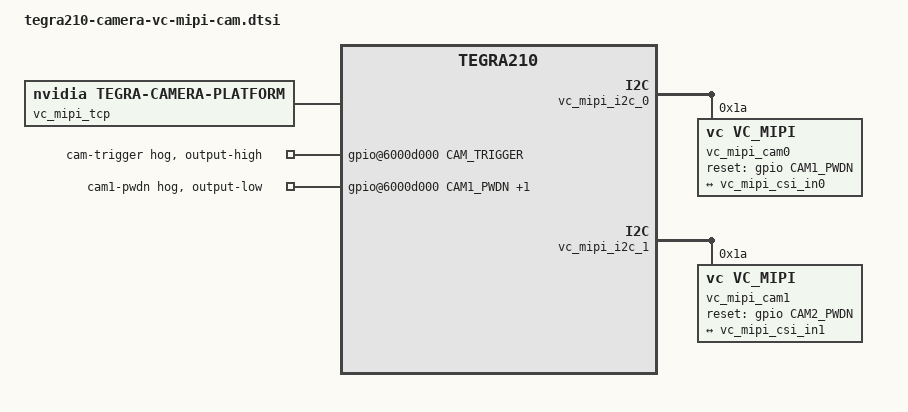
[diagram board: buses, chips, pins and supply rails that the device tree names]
/*
 * Copyright (c) 2018-2019, NVIDIA CORPORATION.  All rights reserved.
 *
 * This program is free software; you can redistribute it and/or modify
 * it under the terms of the GNU General Public License as published by
 * the Free Software Foundation; either version 2 of the License, or
 * (at your option) any later version.
 *
 * This program is distributed in the hope that it will be useful, but WITHOUT
 * ANY WARRANTY; without even the implied warranty of MERCHANTABILITY or
 * FITNESS FOR A PARTICULAR PURPOSE.  See the GNU General Public License for
 * more details.
 *
 * You should have received a copy of the GNU General Public License
 * along with this program.  If not, see <http://www.gnu.org/licenses/>.
 */

#include <dt-bindings/media/camera.h>
#include <dt-bindings/platform/t210/t210.h>

#define VC_MIPI_CAM_AB  1
#define VC_MIPI_CAM_CD  1
#define VC_MIPI_CAM_E   0
#define VC_MIPI_CAM_F   0
#define VC_MIPI_CAMERAS 2

#define VC_MIPI_LANES   4
#if VC_MIPI_LANES == 1
    #define BUS_WIDTH 1
    #define NUM_LANES "1" 
    #define NUM_CSI_LANES 2
#endif
#if VC_MIPI_LANES == 2
    #define BUS_WIDTH 2
    #define NUM_LANES "2" 
    #define NUM_CSI_LANES 4
#endif
#if VC_MIPI_LANES == 4
    #define BUS_WIDTH 4
    #define NUM_LANES "4" 
    #define NUM_CSI_LANES 8
#endif
 
/ {
    host1x {
        vc_mipi_vi_base: vi {
            num-channels = <VC_MIPI_CAMERAS>;
            #address-cells = <1>;
            #size-cells = <0>;
            ports {
                #address-cells = <1>;
                #size-cells = <0>;
#if VC_MIPI_CAM_AB == 1
                vc_mipi_vi_port0: port@0 {
                    reg = <0>;
                    vc_mipi_vi_in0: endpoint {
                        port-index = <0>;
                        bus-width = <BUS_WIDTH>;
                        remote-endpoint = <&vc_mipi_csi_out0>;
                    };
                };
#endif
#if VC_MIPI_CAM_CD == 1
                vc_mipi_vi_port1: port@1 {
                    reg = <1>;
                    vc_mipi_vi_in1: endpoint {
                        port-index = <2>;
                        bus-width = <BUS_WIDTH>;
                        remote-endpoint = <&vc_mipi_csi_out1>;
                    };
                };
#endif
#if VC_MIPI_CAM_E == 1
                vc_mipi_vi_port2: port@2 {
                    reg = <2>;
                    vc_mipi_vi_in2: endpoint {
                        port-index = <4>;
                        bus-width = <BUS_WIDTH>;
                        remote-endpoint = <&vc_mipi_csi_out2>;
                    };
                };
#endif
#if VC_MIPI_CAM_F == 1
                vc_mipi_vi_port3: port@3 {
                    reg = <3>;
                    vc_mipi_vi_in3: endpoint {
                        port-index = <6>;
                        bus-width = <BUS_WIDTH>;
                        remote-endpoint = <&vc_mipi_csi_out3>;
                    };
                };
#endif
            };
        };
 
        vc_mipi_csi_base: nvcsi {
            num-channels = <VC_MIPI_CAMERAS>;
            #address-cells = <1>;
            #size-cells = <0>;
#if VC_MIPI_CAM_AB == 1
            vc_mipi_csi_chan0: channel@0 {
                reg = <0>;
                ports {
                    #address-cells = <1>;
                    #size-cells = <0>;
                    vc_mipi_csi_chan0_port0: port@0 {
                        reg = <0>;
                        vc_mipi_csi_in0: endpoint@0 {
                            port-index = <0>;
                            bus-width = <BUS_WIDTH>;
                            remote-endpoint = <&vc_mipi_out0>;
                        };
                    };
                    vc_mipi_csi_chan0_port1: port@1 {
                        reg = <1>;
                        vc_mipi_csi_out0: endpoint@1 {
                            remote-endpoint = <&vc_mipi_vi_in0>;
                        };
                    };
                };
            };
#endif
#if VC_MIPI_CAM_CD == 1
            vc_mipi_csi_chan1: channel@1 {
                reg = <1>;
                ports {
                    #address-cells = <1>;
                    #size-cells = <0>;
                    vc_mipi_csi_chan1_port0: port@2 {
                        reg = <0>;
                        vc_mipi_csi_in1: endpoint@2 {
                            port-index = <2>;
                            bus-width = <BUS_WIDTH>;
                            remote-endpoint = <&vc_mipi_out1>;
                        };
                    };
                    vc_mipi_csi_chan1_port1: port@3 {
                        reg = <1>;
                        vc_mipi_csi_out1: endpoint@3 {
                            remote-endpoint = <&vc_mipi_vi_in1>;
                        };
                    };
                };
            };
#endif
#if VC_MIPI_CAM_E == 1
            vc_mipi_csi_chan2: channel@2 {
                reg = <2>;
                ports {
                    #address-cells = <1>;
                    #size-cells = <0>;
                    vc_mipi_csi_chan2_port0: port@4 {
                        reg = <0>;
                        vc_mipi_csi_in2: endpoint@4 {
                            port-index = <4>;
                            bus-width = <BUS_WIDTH>;
                            remote-endpoint = <&vc_mipi_out2>;
                        };
                    };
                    vc_mipi_csi_chan2_port1: port@5 {
                        reg = <1>;
                        vc_mipi_csi_out2: endpoint@5 {
                            remote-endpoint = <&vc_mipi_vi_in2>;
                        };
                    };
                };
            };
 #endif
 #if VC_MIPI_CAM_F == 1
            vc_mipi_csi_chan3: channel@3 {
                reg = <3>;
                ports {
                    #address-cells = <1>;
                    #size-cells = <0>;
                    vc_mipi_csi_chan3_port0: port@6 {
                        reg = <0>;
                        vc_mipi_csi_in3: endpoint@6 {
                            port-index = <6>;
                            bus-width = <BUS_WIDTH>;
                            remote-endpoint = <&vc_mipi_out3>;
                        };
                    };
                    vc_mipi_csi_chan3_port1: port@7 {
                        reg = <1>;
                        vc_mipi_csi_out3: endpoint@7 {
                            remote-endpoint = <&vc_mipi_vi_in3>;
                        };
                    };
                };
            };
#endif
        };

#if VC_MIPI_CAM_AB == 1
        vc_mipi_i2c_0: i2c@546c0000 {
            vc_mipi_cam0: vc_mipi@1a {           
                compatible              = "vc,vc_mipi";                   
                reg                     = <0x1a>;
                devnode                 = "video0";
                use_sensor_mode_id      = "false";
                num_lanes               = NUM_LANES;
                trigger-mode            = "0";
                flash-mode              = "0";
 
                 // This node is needed by the Tegra framework. 
                // All properties are set by the driver on runtime.
                mode0 { 
                    num_lanes                = NUM_LANES;
                    tegra_sinterface         = "serial_a";
                    phy_mode                 = "DPHY";

                    // A Boolean; indicates whether the sensor is programmed to use a 
                    // discontinuous clock on MIPI lanes.
                    discontinuous_clk        = "no";
                    // sensor_common.c -> signal->mclk_freq = value; (read_property_u32)
                    // s_data->def_clk_freq = signal_props->mclk_freq * 1000;
                    // camera_common.c -> camera_common_mclk_enable
                    //                 -> clk_set_rate -> clk_prepare_enable
                    mclk_khz                 = "24000"; 
                    // Sensor pixel clock for calculating exposure, frame rate, etc.
                    pix_clk_hz               = "800000000";
                    // THS settle time of the MIPI lane, in nanoseconds. Calculate the range 
                    // of acceptable values with the appropriate formula.
                    cil_settletime           = "0";

                    // (not implemented) A Boolean; specifies whether to enable DPCM compression for this mode.
                    // dpcm_enable              = "false";
                    // (not implemented) MCLK multiplier for timing the capture sequence of the
                    // mclk_multiplier          = "9.33";

                    inherent_gain            = "1";
                    min_hdr_ratio            = "1";
                    max_hdr_ratio            = "1";
                    readout_orientation      = "0";

                    active_w                 = "0";
                    active_h                 = "0";
                    line_length              = "0";
                    pixel_t                  = "bayer_rggb10";

                    gain_factor              = "1";
                    min_gain_val             = "0"; 
                    max_gain_val             = "1"; 
                    step_gain_val            = "1"; 
                    default_gain             = "0"; 

                    exposure_factor          = "1"; 
                    min_exp_time             = "0";
                    max_exp_time             = "1";
                    step_exp_time            = "1";
                    default_exp_time         = "0";

                    framerate_factor         = "1";
                    min_framerate            = "0";
                    max_framerate            = "1";
                    step_framerate           = "1";
                    default_framerate        = "0";

                    embedded_metadata_height = "0";    
                };

                ports {
                    #address-cells = <1>;
                    #size-cells = <0>;

                    port@0 {
                        reg = <0>;
                        vc_mipi_out0: endpoint {
                            port-index = <0>;
                            bus-width = <BUS_WIDTH>;
                            remote-endpoint = <&vc_mipi_csi_in0>;
                        };
                    };
                };
            };
        };
#endif
#if VC_MIPI_CAM_CD == 1
        vc_mipi_i2c_1: i2c@7000c000 {
            vc_mipi_cam1: vc_mipi@1a {
                compatible              = "vc,vc_mipi";              
                reg                     = <0x1a>;
                devnode                 = "video1";
                use_sensor_mode_id      = "false";
                num_lanes               = NUM_LANES;
                trigger-mode            = "0";
                flash-mode              = "0";
                
                // This node is needed by the Tegra framework. 
                // All properties are set by the driver on runtime.
                mode0 { 
                    num_lanes                = NUM_LANES;
                    tegra_sinterface         = "serial_c";
                    phy_mode                 = "DPHY";

                    discontinuous_clk        = "no";
                    mclk_khz                 = "24000";
                    pix_clk_hz               = "800000000";
                    cil_settletime           = "0";

                    // mclk_multiplier          = "9.33";
                    // dpcm_enable              = "false";

                    inherent_gain            = "1";
                    min_hdr_ratio            = "1";
                    max_hdr_ratio            = "1";
                    readout_orientation      = "0";

                    active_w                 = "0";
                    active_h                 = "0";
                    line_length              = "0";
                    pixel_t                  = "bayer_rggb10";

                    gain_factor              = "1";
                    min_gain_val             = "0"; 
                    max_gain_val             = "1"; 
                    step_gain_val            = "1"; 
                    default_gain             = "0"; 

                    exposure_factor          = "1"; 
                    min_exp_time             = "0";
                    max_exp_time             = "1";
                    step_exp_time            = "1";
                    default_exp_time         = "0";

                    framerate_factor         = "1";
                    min_framerate            = "0";
                    max_framerate            = "1";
                    step_framerate           = "1";
                    default_framerate        = "0";

                    embedded_metadata_height = "0";    
                };

                ports {
                    #address-cells = <1>;
                    #size-cells = <0>;

                    port@0 {
                        reg = <0>;
                        vc_mipi_out1: endpoint {
                            port-index = <2>;
                            bus-width = <BUS_WIDTH>;
                            remote-endpoint = <&vc_mipi_csi_in1>;
                        };
                    };
                };
            };
        };
#endif
    };
      
#if VC_MIPI_CAM_E == 1
    vc_mipi_i2c_2: i2c@7000c400 {
        vc_mipi_cam2: vc_mipi@1a {
            compatible              = "vc,vc_mipi";              
            reg                     = <0x1a>;
            devnode                 = "video2";
            use_sensor_mode_id      = "false";
            num_lanes               = NUM_LANES;
            trigger-mode            = "0";
            flash-mode              = "0";

            // This node is needed by the Tegra framework. 
            // All properties are set by the driver on runtime.
            mode0 { 
                num_lanes                = NUM_LANES;
                tegra_sinterface         = "serial_e";
                phy_mode                 = "DPHY";

                discontinuous_clk        = "no";
                mclk_khz                 = "24000";
                pix_clk_hz               = "800000000";
                cil_settletime           = "0";

                // mclk_multiplier          = "9.33";
                // dpcm_enable              = "false";

                inherent_gain            = "1";
                min_hdr_ratio            = "1";
                max_hdr_ratio            = "1";
                readout_orientation      = "0";

                active_w                 = "0";
                active_h                 = "0";
                line_length              = "0";
                pixel_t                  = "bayer_rggb10";

                gain_factor              = "1";
                min_gain_val             = "0"; 
                max_gain_val             = "1"; 
                step_gain_val            = "1"; 
                default_gain             = "0"; 

                exposure_factor          = "1"; 
                min_exp_time             = "0";
                max_exp_time             = "1";
                step_exp_time            = "1";
                default_exp_time         = "0";

                framerate_factor         = "1";
                min_framerate            = "0";
                max_framerate            = "1";
                step_framerate           = "1";
                default_framerate        = "0";

                embedded_metadata_height = "0";    
            };

            ports {
                #address-cells = <1>;
                #size-cells = <0>;

                port@0 {
                    reg = <0>;
                    vc_mipi_out2: endpoint {
                        port-index = <4>;
                        bus-width = <BUS_WIDTH>;
                        remote-endpoint = <&vc_mipi_csi_in2>;
                    };
                };
            };
        };
    };
#endif
#if VC_MIPI_CAM_F == 1
    vc_mipi_i2c_3: i2c@7000c500 {
        vc_mipi_cam3: vc_mipi@1a {
            compatible              = "vc,vc_mipi";              
            reg                     = <0x1a>;
            devnode                 = "video3";
            use_sensor_mode_id      = "false";
            num_lanes               = NUM_LANES;
            trigger-mode            = "0";
            flash-mode              = "0";

            // This node is needed by the Tegra framework. 
            // All properties are set by the driver on runtime.
            mode0 { 
                num_lanes                = NUM_LANES;
                tegra_sinterface         = "serial_f";
                phy_mode                 = "DPHY";

                discontinuous_clk        = "no";
                mclk_khz                 = "24000";
                pix_clk_hz               = "800000000";
                cil_settletime           = "0";

                // mclk_multiplier          = "9.33";
                // dpcm_enable              = "false";

                inherent_gain            = "1";
                min_hdr_ratio            = "1";
                max_hdr_ratio            = "1";
                readout_orientation      = "0";

                active_w                 = "0";
                active_h                 = "0";
                line_length              = "0";
                pixel_t                  = "bayer_rggb10";

                gain_factor              = "1";
                min_gain_val             = "0"; 
                max_gain_val             = "1"; 
                step_gain_val            = "1"; 
                default_gain             = "0"; 

                exposure_factor          = "1"; 
                min_exp_time             = "0";
                max_exp_time             = "1";
                step_exp_time            = "1";
                default_exp_time         = "0";

                framerate_factor         = "1";
                min_framerate            = "0";
                max_framerate            = "1";
                step_framerate           = "1";
                default_framerate        = "0";

                embedded_metadata_height = "0";    
            };

            ports {
                #address-cells = <1>;
                #size-cells = <0>;

                port@0 {
                    reg = <0>;
                    vc_mipi_out3: endpoint {
                        port-index = <6>;
                        bus-width = <BUS_WIDTH>;
                        remote-endpoint = <&vc_mipi_csi_in3>;
                    };
                };
            };
        };
    };
#endif

    lens_vc_mipi@RBPCV2 {
        min_focus_distance  = "0.0";
        hyper_focal         = "0.0";
        focal_length        = "1.0";
        f_number            = "2.0";
        aperture            = "0.0";
    };
};

/ {
    vc_mipi_tcp: tegra-camera-platform {
        compatible = "nvidia, tegra-camera-platform";

        // vi_iso_bw = ((num_csi_lanes * max_lane_speed) / bits_per_pixel)
		//             * vi_bpp * (100 + vi_margin_pct) / 100;
        num_csi_lanes = <NUM_CSI_LANES>;
        max_lane_speed = <1500000>;
        min_bits_per_pixel = <10>;
        vi_peak_byte_per_pixel = <2>;
        vi_bw_margin_pct = <25>;
        // isp_iso_bw = max_pixel_rate * isp_bpp * (100 + isp_margin_pct) / 100;
        max_pixel_rate = <160000>;
        isp_peak_byte_per_pixel = <5>;
        isp_bw_margin_pct = <25>;

        /**
         * The general guideline for naming badge_info contains 3 parts, and is as follows,
         * The first part is the camera_board_id for the module; if the module is in a FFD
         * platform, then use the platform name for this part.
         * The second part contains the position of the module, ex. "rear" or "front".
         * The third part contains the last 6 characters of a part number which is found
         * in the module's specsheet from the vendor.
         */
        modules {
#if VC_MIPI_CAM_AB == 1
            vc_mipi_cam_module0: module0 {
                badge = "porg_topleft_RBPCV2";
                position = "topleft";
                orientation = "1";
                vc_mipi_cam_module0_drivernode0: drivernode0 {
                    pcl_id = "v4l2_sensor";
                    devname = "vc-mipi 6-001a";
                    proc-device-tree = "/proc/device-tree/host1x/i2c@546c0000/vc_mipi@1a";
                };
                vc_mipi_cam_module0_drivernode1: drivernode1 {
                    pcl_id = "v4l2_lens";
                    proc-device-tree = "/proc/device-tree/lens_vc_mipi@RBPCV2/";
                };
            };
#endif
#if VC_MIPI_CAM_CD == 1
            vc_mipi_cam_module1: module1 {
                badge = "porg_topright_RBPCV2";
                position = "topright";
                orientation = "1";
                vc_mipi_cam_module1_drivernode0: drivernode0 {
                    pcl_id = "v4l2_sensor";
                    devname = "vc-mipi 0-001a";
                    proc-device-tree = "/proc/device-tree/host1x/i2c@7000c000/vc_mipi@1a";
                };
                vc_mipi_cam_module1_drivernode1: drivernode1 {
                    pcl_id = "v4l2_lens";
                    proc-device-tree = "/proc/device-tree/lens_vc_mipi@RBPCV2/";
                };
            };
#endif
#if VC_MIPI_CAM_E == 1
            vc_mipi_cam_module2: module2 {
                badge = "porg_bottomleft_RBPCV2";
                position = "bottomleft";
                orientation = "1";
                vc_mipi_cam_module2_drivernode0: drivernode0 {
                    status = "okay";
                    pcl_id = "v4l2_sensor";
                    devname = "vc_mipi 1-001a";
                    proc-device-tree = "/proc/device-tree/i2c@7000c400/vc_mipi@1a";
                };
                vc_mipi_cam_module2_drivernode1: drivernode1 {
                    status = "okay";
                    pcl_id = "v4l2_lens";
                    proc-device-tree = "/proc/device-tree/lens_vc_mipi@RBPCV2/";
                };
            };
#endif
#if VC_MIPI_CAM_F == 1
            vc_mipi_cam_module3: module3 {
                badge = "porg_bottomright_RBPCV2";
                position = "bottomright";
                orientation = "1";
                vc_mipi_cam_module3_drivernode0: drivernode0 {
                    status = "okay";
                    pcl_id = "v4l2_sensor";
                    devname = "vc_mipi 2-001a";
                    proc-device-tree = "/proc/device-tree/i2c@7000c500/vc_mipi@1a";
                };
                vc_mipi_cam_module3_drivernode1: drivernode1 {
                    status = "okay";
                    pcl_id = "v4l2_lens";
                    proc-device-tree = "/proc/device-tree/lens_vc_mipi@RBPCV2/";
                };
            };
#endif
        };
    };
};

#define CAM1_PWDN       TEGRA_GPIO(S, 7)
#define CAM2_PWDN       TEGRA_GPIO(T, 0)
#define CAM3_PWDN		TEGRA_GPIO(S, 5)
#define CAM4_PWDN		TEGRA_GPIO(T, 1)
#define CAM_TRIGGER		TEGRA_GPIO(V, 0)

/ {
    host1x {
#if VC_MIPI_CAM_AB == 1
        i2c@546c0000 {
            status = "okay";
                vc_mipi@1a {
                status = "okay";
                reset-gpios = <&gpio CAM1_PWDN GPIO_ACTIVE_HIGH>;
            };
        };
#endif
#if VC_MIPI_CAM_CD == 1
        i2c@7000c000 {
            status = "okay";
                vc_mipi@1a {
                status = "okay";
                reset-gpios = <&gpio CAM2_PWDN GPIO_ACTIVE_HIGH>;
            };
        };
#endif
    };

#if VC_MIPI_CAM_E == 1
    i2c@7000c400 {
        status = "okay";
        vc_mipi@1a {
            status = "okay";
            reset-gpios = <&gpio CAM3_PWDN GPIO_ACTIVE_HIGH>;
        };
    };
#endif
#if VC_MIPI_CAM_F == 1
    i2c@7000c500 {
        status = "okay";
        vc_mipi@1a {
            status = "okay";
            reset-gpios = <&gpio CAM4_PWDN GPIO_ACTIVE_HIGH>;
        };
    };
#endif

    gpio@6000d000 {
        camera-trigger-high {
            status = "okay";
            gpio-hog;
            output-high;
            gpios = <CAM_TRIGGER 0>;
            label = "cam-trigger";
        };
 
        camera-control-output-low {
            gpio-hog;
            output-low;
            gpios = < CAM1_PWDN 0  CAM2_PWDN 0>;
            label = "cam1-pwdn", "cam2-pwdn";
        };
    };
};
